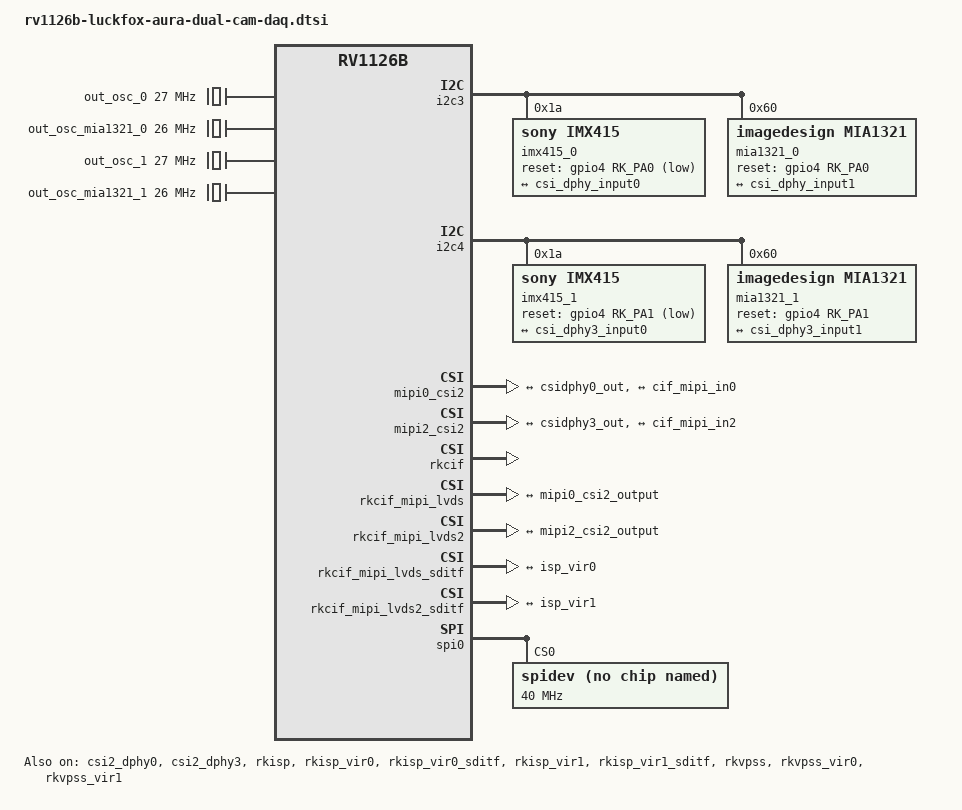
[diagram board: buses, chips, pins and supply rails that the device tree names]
// SPDX-License-Identifier: (GPL-2.0+ OR MIT)
/*
 * rv1126b-luckfox-aura-dual-cam-daq.dtsi
 * —— ★自研 DAQ 板专用★ 双 IMX415 配置(I2C 总线按自研板实际接线对调)
 *
 * 【为什么要有这个文件】(2026-07-03)
 *   自研板(MYZR RV1126B 核心板 + 自研扩展板)的 I2C 接法和 Luckfox 开发板相反:
 *     Luckfox 开发板: CSI0座(→SoC RX0/dphy0) 配 I2C4;CSI1座(→RX1/dphy3) 配 I2C3
 *     自研板:         CSI0座(→SoC RX0/dphy0) 配 I2C3;CSI1座(→RX1/dphy3) 配 I2C4
 *   若沿用开发板的 dual-cam.dtsi,内核会把"接在自研板 CSI0 座上的相机"认成 cam1、
 *   并期待它的数据从 RX1 进来 —— I2C 配置和 MIPI 数据来源交叉错位。
 *   本文件 = dual-cam.dtsi 的复制版,仅把两组传感器节点在 i2c3/i2c4 之间对调,
 *   使"自研板 CSI0 座 = cam0 = dphy0"、"CSI1 座 = cam1 = dphy3",身份与数据通路一致。
 *
 * 【与 dual-cam.dtsi 的差异】只有两处:
 *   ① imx415_0 + mia1321_0(cam0, 走 dphy0)从 &i2c4 移到 &i2c3;
 *   ② imx415_1 + mia1321_1(cam1, 走 dphy3)从 &i2c3 移到 &i2c4。
 *   复位 GPIO 改为 GPIO4_A0(cam0)/GPIO4_A1(cam1)——2026-07-03 对照 MYZR 引脚表定案:
 *   自研板 XCLR 接的是核心板 P14/R12 = MIPI_RX0_RST/RX1_RST = SoC GPIO4_A0/A1
 *   (注意 MYZR 命名陷阱:GPIO4_B0/B1 在核心板上是 MIPI_MCLK_OUT1/0,不是复位!)。
 *
 * 【用法】在 rv1126b-luckfox-aura.dts 里与其他摄像头 dtsi 互斥选用:
 *   烧自研板 → include 本文件;烧 Luckfox 开发板 → include dual-cam.dtsi。
 *
 * dphy 划分(与原文件一致):
 *   csi2_dphy0 -> csi0(rx0) clk0 + 4 lane
 *   csi2_dphy3 -> csi1(rx1) clk0 + 4 lane
 */

/ {
	cam_ircut0: cam_ircut0 {
		status = "okay";
		compatible = "rockchip,ircut";
		rockchip,camera-module-index = <0>;
		rockchip,camera-module-facing = "back";
	};

	cam_ircut1: cam_ircut1 {
		status = "okay";
		compatible = "rockchip,ircut";
		rockchip,camera-module-index = <1>;
		rockchip,camera-module-facing = "back";
	};

	/* ★自研摄像头模组晶振=27MHz(非 Luckfox 模组的 37.125MHz)。
	 * 必须与 imx415.c mode.xvclk=IMX415_XVCLK_FREQ_27M 一致,否则驱动时钟校验/PLL 不符。
	 * out_osc_0(cam0/CSI0座) 和 out_osc_1(cam1/CSI1座) 都改,自研板两座都用 27M 自研模组。 */
	out_osc_0: out-osc-0 {
		compatible = "fixed-clock";
		clock-output-names = "out-osc-0";
		clock-frequency = <27000000>;
		#clock-cells = <0>;
	};

	out_osc_mia1321_0: out-osc-mia1321-0 {
		compatible = "fixed-clock";
		clock-output-names = "out-osc-mia1321-0";
		clock-frequency = <26000000>;
		#clock-cells = <0>;
	};

	out_osc_1: out-osc-1 {
		compatible = "fixed-clock";
		clock-output-names = "out-osc-1";
		clock-frequency = <27000000>;   /* ★自研模组 27MHz(见上 out_osc_0 注释) */
		#clock-cells = <0>;
	};

	out_osc_mia1321_1: out-osc-mia1321-1 {
		compatible = "fixed-clock";
		clock-output-names = "out-osc-mia1321-1";
		clock-frequency = <26000000>;
		#clock-cells = <0>;
	};
};


&csi2_dphy0 {
	status = "okay";

	ports {
		#address-cells = <1>;
		#size-cells = <0>;
		port@0 {
			reg = <0>;
			#address-cells = <1>;
			#size-cells = <0>;

			csi_dphy_input0: endpoint@1 {
				reg = <1>;
				remote-endpoint = <&imx415_0_out>;
				data-lanes = <1 2 3 4>;
			};

			csi_dphy_input1: endpoint@2 {
				reg = <2>;
				remote-endpoint = <&mia1321_0_out>;
				data-lanes = <1 2>;
			};
		};
		port@1 {
			reg = <1>;
			#address-cells = <1>;
			#size-cells = <0>;

			csidphy0_out: endpoint@0 {
				reg = <0>;
				remote-endpoint = <&mipi0_csi2_input>;
			};
		};
	};
};

&csi2_dphy3 {
	status = "okay";

	ports {
		#address-cells = <1>;
		#size-cells = <0>;
		port@0 {
			reg = <0>;
			#address-cells = <1>;
			#size-cells = <0>;

			csi_dphy3_input0: endpoint@1 {
				reg = <1>;
				remote-endpoint = <&imx415_1_out>;
				data-lanes = <1 2 3 4>;
			};

			csi_dphy3_input1: endpoint@2 {
				reg = <2>;
				remote-endpoint = <&mia1321_1_out>;
				data-lanes = <1 2>;
			};
		};
		port@1 {
			reg = <1>;
			#address-cells = <1>;
			#size-cells = <0>;

			csidphy3_out: endpoint@0 {
				reg = <0>;
				remote-endpoint = <&mipi2_csi2_input>;
			};
		};
	};
};

/* ★与开发板版的差异①:cam0(imx415_0, 走 dphy0/RX0)放到 i2c3 —— 自研板 CSI0 座的 I2C */
&i2c3 {
	status = "okay";
	pinctrl-0 = <&i2c3m1_pins>;

	/* ★自研摄像头模组(2026-07-06): I2C 地址=0x1a(SLAMODE 接法与 Luckfox 模组的 0x37 不同);
	 * 且模组 XCLR 无上拉,依赖本节点 reset-gpios 主动拉高。插 Luckfox 旧模组(0x37)会探测不到。 */
	imx415_0: imx415_0@1a {
		compatible = "sony,imx415";
		reg = <0x1a>;
		clocks = <&out_osc_0>;
		clock-names = "xvclk";
		pinctrl-names = "default";
		pinctrl-0 = <&cam_reset_gpio>;
		reset-gpios = <&gpio4 RK_PA0 GPIO_ACTIVE_LOW>;
		rockchip,camera-module-index = <0>;
		rockchip,camera-module-facing = "back";
		rockchip,camera-module-name = "default";
		rockchip,camera-module-lens-name = "default";
		lens-focus = <&cam_ircut0>;
		port {
			imx415_0_out: endpoint {
				remote-endpoint = <&csi_dphy_input0>;
				data-lanes = <1 2 3 4>;
			};
		};
	};

	mia1321_0: mia1321_0@60 {
		compatible = "imagedesign,mia1321";
		reg = <0x60>;
		clocks = <&out_osc_mia1321_0>;
		clock-names = "xvclk";
		pinctrl-names = "default";
		pinctrl-0 = <&cam_reset_gpio>;
		reset-gpios = <&gpio4 RK_PA0 GPIO_ACTIVE_HIGH>;
		rockchip,camera-module-index = <0>;
		rockchip,camera-module-facing = "back";
		rockchip,camera-module-name = "default";
		rockchip,camera-module-lens-name = "default";
		port {
				mia1321_0_out: endpoint {
					remote-endpoint = <&csi_dphy_input1>;
					data-lanes = <1 2>;
				};
		};
	};
};

/* ★与开发板版的差异②:cam1(imx415_1, 走 dphy3/RX1)放到 i2c4 —— 自研板 CSI1 座的 I2C */
&i2c4 {
	status = "okay";
	pinctrl-0 = <&i2c4m2_pins>;

	/* ★自研模组: 0x1a(同 cam0 注释) */
	imx415_1: imx415_1@1a {
		compatible = "sony,imx415";
		reg = <0x1a>;
		clocks = <&out_osc_1>;
		clock-names = "xvclk";
		reset-gpios = <&gpio4 RK_PA1 GPIO_ACTIVE_LOW>;
		pinctrl-names = "default";
		pinctrl-0 = <&cam_1_reset_gpio>;
		rockchip,camera-module-index = <1>;
		rockchip,camera-module-facing = "back";
		rockchip,camera-module-name = "default";
		rockchip,camera-module-lens-name = "default";
		lens-focus = <&cam_ircut1>;
		port {
			imx415_1_out: endpoint {
				remote-endpoint = <&csi_dphy3_input0>;
				data-lanes = <1 2 3 4>;
			};
		};
	};

	mia1321_1: mia1321_1@60 {
		compatible = "imagedesign,mia1321";
		reg = <0x60>;
		clocks = <&out_osc_mia1321_1>;
		clock-names = "xvclk";
		reset-gpios = <&gpio4 RK_PA1 GPIO_ACTIVE_HIGH>;
		pinctrl-names = "default";
		pinctrl-0 = <&cam_1_reset_gpio>;
		rockchip,camera-module-index = <1>;
		rockchip,camera-module-facing = "back";
		rockchip,camera-module-name = "default";
		rockchip,camera-module-lens-name = "default";
		port {
				mia1321_1_out: endpoint {
					remote-endpoint = <&csi_dphy3_input1>;
					data-lanes = <1 2>;
				};
		};
	};
};

&pinctrl {
	cam {
		cam_reset_gpio: cam-reset-gpio {
			rockchip,pins = <4 RK_PA0 RK_FUNC_GPIO &pcfg_pull_up>;
		};
	};

	cam_1 {
		cam_1_reset_gpio: cam-1-reset-gpio {
			rockchip,pins = <4 RK_PA1 RK_FUNC_GPIO &pcfg_pull_up>;
		};
	};
};


&mipi0_csi2 {
	status = "okay";

	ports {
		#address-cells = <1>;
		#size-cells = <0>;

		port@0 {
			reg = <0>;
			#address-cells = <1>;
			#size-cells = <0>;

			mipi0_csi2_input: endpoint@1 {
				reg = <1>;
				remote-endpoint = <&csidphy0_out>;
			};
		};

		port@1 {
			reg = <1>;
			#address-cells = <1>;
			#size-cells = <0>;

			mipi0_csi2_output: endpoint@0 {
				reg = <0>;
				remote-endpoint = <&cif_mipi_in0>;
			};
		};
	};
};

&mipi2_csi2 {
	status = "okay";

	ports {
		#address-cells = <1>;
		#size-cells = <0>;

		port@0 {
			reg = <0>;
			#address-cells = <1>;
			#size-cells = <0>;

			mipi2_csi2_input: endpoint@1 {
				reg = <1>;
				remote-endpoint = <&csidphy3_out>;
			};
		};

		port@1 {
			reg = <1>;
			#address-cells = <1>;
			#size-cells = <0>;

			mipi2_csi2_output: endpoint@0 {
				reg = <0>;
				remote-endpoint = <&cif_mipi_in2>;
			};
		};
	};
};

&rkcif {
	status = "okay";
};

&rkcif_mipi_lvds {
	status = "okay";

	port {
		cif_mipi_in0: endpoint {
			remote-endpoint = <&mipi0_csi2_output>;
		};
	};
};

&rkcif_mipi_lvds2 {
	status = "okay";

	port {
		cif_mipi_in2: endpoint {
			remote-endpoint = <&mipi2_csi2_output>;
		};
	};
};

&rkcif_mipi_lvds_sditf {
	status = "okay";

	port {
		mipi_lvds_sditf: endpoint {
			remote-endpoint = <&isp_vir0>;
		};
	};
};

&rkcif_mipi_lvds2_sditf {
	status = "okay";

	port {
		mipi_lvds2_sditf: endpoint {
			remote-endpoint = <&isp_vir1>;
		};
	};
};

&rkcif_mmu {
	status = "okay";
};

&rkisp {
	status = "okay";
};

&rkisp_mmu {
	status = "okay";
};

&rkisp_vir0 {
	status = "okay";

	port {
		#address-cells = <1>;
		#size-cells = <0>;

		isp_vir0: endpoint@0 {
			reg = <0>;
			remote-endpoint = <&mipi_lvds_sditf>;
		};
	};
};

&rkisp_vir0_sditf {
	status = "okay";
};

&rkisp_vir1 {
	status = "okay";

	port {
		#address-cells = <1>;
		#size-cells = <0>;

		isp_vir1: endpoint@0 {
			reg = <0>;
			remote-endpoint = <&mipi_lvds2_sditf>;
		};
	};
};

&rkisp_vir1_sditf {
	status = "okay";
};

&rkvpss {
	status = "okay";
	dvbm = <&rkdvbm>;
};

&rkvpss_mmu {
	status = "okay";
};

&rkvpss_vir0 {
	status = "okay";
};

&rkvpss_vir1 {
	status = "okay";
};

/* ★自研板 STM32 传感器 SPI(2026-07-06)★
 * RV1126B 当 SPI 主机,读 STM32(从机)每帧 48 字节传感器帧(21路ADC+seq+CRC16)。
 * 控制器=SPI0(spi@211e0000),复用组 M2(GPIO5_A3~A6),硬件片选 CSN0:
 *   L32=SPI0_CLK_M2 (GPIO5_A6)  M32=SPI0_MISO_M2(GPIO5_A5)
 *   N31=SPI0_MOSI_M2(GPIO5_A4)  P31=SPI0_CSN0_M2(GPIO5_A3,硬件CS)
 * 用户态经 spidev(/dev/spidev0.0)读,dual_cam_push/spi_sensor.c 负责。
 * ⚠ 使能后确认 adb/USB 仍正常(GPIO5_A3~A6 别和自研板其它在用外设冲突;
 *   MYZR 默认这几脚是 LCD_PWREN/TP_INT/TP_RST/USB2_HOST_PWREN,自研板未用故借来做SPI)。 */
&spi0 {
	status = "okay";
	pinctrl-names = "default";
	pinctrl-0 = <&spi0m2_clk_pins &spi0m2_csn0_pins>;

	spidev@0 {
		compatible = "rockchip,spidev";
		reg = <0>;                        /* CS0 = SPI0_CSN0_M2 = P31(硬件片选) */
		/* 2026-07-06 实测扫频(spi_sensor_test, 500帧/档): 10/20/30/40MHz 全部100%有效(20MHz偶发1帧,
		 * 30/40MHz 满分);50MHz 直接 0%(收到的是乱码而非全FF, 判定信号完整性到顶, 非"断连")。
		 * 故定 40MHz, 留有余量(比 50MHz 上限低一档)。若换更长/更差走线需重新扫频验证。 */
		spi-max-frequency = <40000000>;
	};
};
